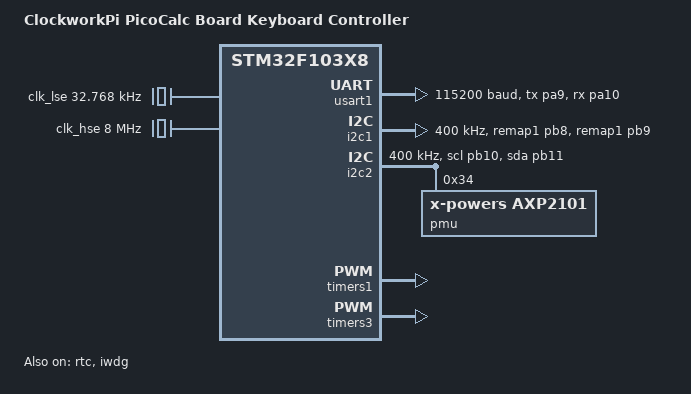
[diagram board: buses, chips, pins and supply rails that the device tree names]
/dts-v1/;

#include <st/f1/stm32f103X8.dtsi>
#include <st/f1/stm32f103r(8-b)tx-pinctrl.dtsi>

/ {
	model = "ClockworkPi PicoCalc Board Keyboard Controller";
	compatible = "clockworkpi,picocalc-kb";

	chosen {
        zephyr,console = &usart1;
        zephyr,shell-uart = &usart1;
        zephyr,sram = &sram0;
        zephyr,flash = &flash0;
    };

	aliases {
        watchdog0 = &iwdg;
    };
};

&pinctrl {
    // the debug pins are occupied by other functions.  explicitly disable
    // debug.
    swj-cfg = "disable";
};

&clk_lse {
    clock-frequency = <32768>;
	status = "okay";
};

&clk_hse {
	clock-frequency = <DT_FREQ_M(8)>;
	status = "okay";
};

&pll {
    mul = <3>;
    clocks = <&clk_hse>;
    status = "okay";
};

&rcc {
        clocks = <&pll>;
        clock-frequency = <DT_FREQ_M(24)>;
        ahb-prescaler = <1>;
        apb1-prescaler = <1>;
        apb2-prescaler = <1>;
};

&rtc {
    status = "okay";
};

&usart1 {
        pinctrl-0 = <&usart1_tx_pa9 &usart1_rx_pa10>;
        pinctrl-names = "default";
        current-speed = <115200>;
        status = "okay";
};

&usart3 {
        status = "disabled";
};

&i2c1 {
        pinctrl-0 = <&i2c1_scl_remap1_pb8 &i2c1_sda_remap1_pb9>;
        pinctrl-names = "default";
        status = "okay";
        clock-frequency = <I2C_BITRATE_FAST>;
};

&i2c2 {
        pinctrl-0 = <&i2c2_scl_pb10 &i2c2_sda_pb11>;
        pinctrl-names = "default";
        status = "okay";
        clock-frequency = <I2C_BITRATE_FAST>;

        pmu: axp2102@34 {
                compatible = "x-powers,axp2101";
                reg = <0x34>;
                status = "okay";
        };
};

&timers1 {
	status = "okay";

	pwm1: pwm {
        pinctrl-0 = <&tim1_ch1_pwm_out_pa8>;
        pinctrl-names = "default";

		status = "okay";
	};
};

&timers3 {
	status = "okay";

	pwm3: pwm {
        pinctrl-0 = <&tim3_ch3_remap2_pwm_out_pc8>;
        pinctrl-names = "default";

		status = "okay";
	};
};

&iwdg {
    status = "okay";
};




